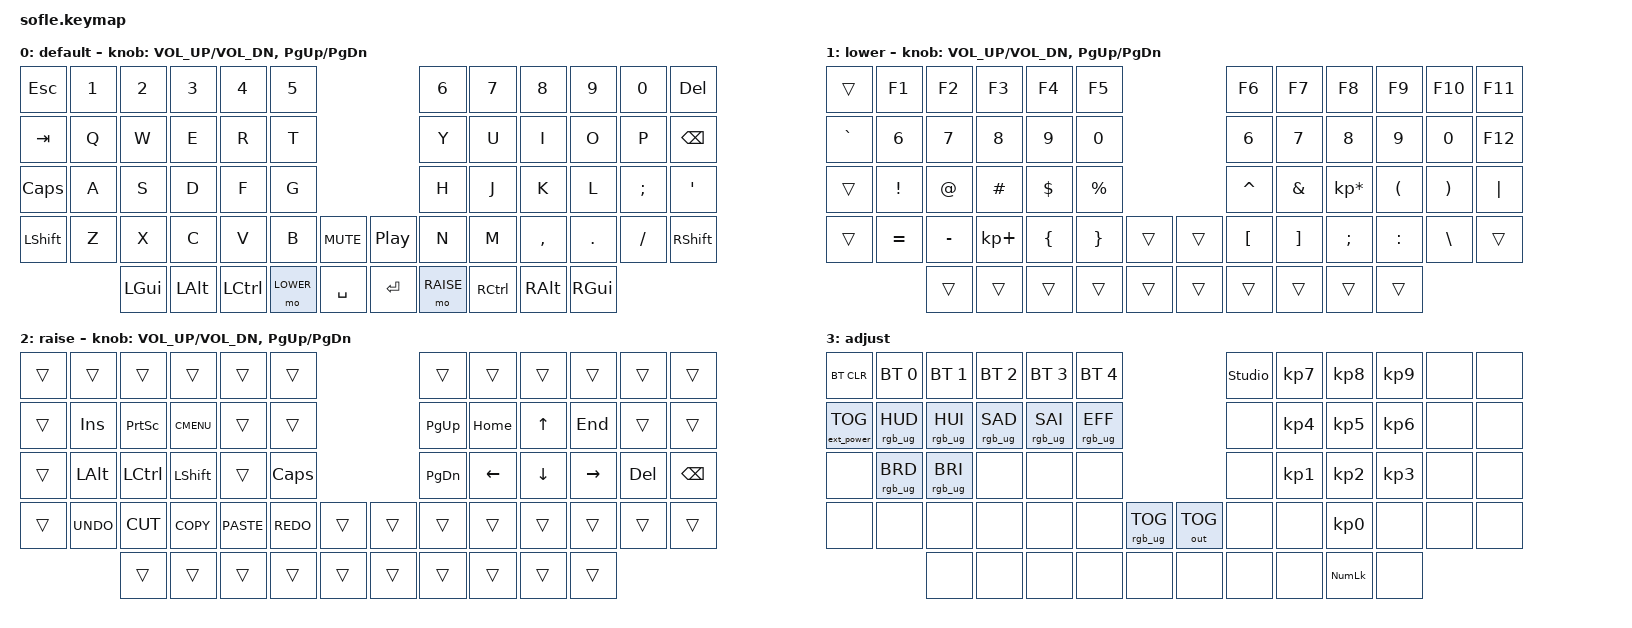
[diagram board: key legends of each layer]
/*
 * Copyright (c) 2020 The ZMK Contributors
 *
 * SPDX-License-Identifier: MIT
 */

#include <behaviors.dtsi>
#include <dt-bindings/zmk/keys.h>
#include <dt-bindings/zmk/bt.h>
#include <dt-bindings/zmk/rgb.h>
#include <dt-bindings/zmk/ext_power.h>
#include <dt-bindings/zmk/outputs.h>

#define BASE 0
#define LOWER 1
#define RAISE 2
#define ADJUST 3

/ {

    
   // Activate ADJUST layer by pressing raise and lower
    conditional_layers {
        compatible = "zmk,conditional-layers";
        adjust_layer {
            if-layers = <LOWER RAISE>;
            then-layer = <ADJUST>;
        };
    };

    keymap {
        compatible = "zmk,keymap";

        default_layer {
            display-name = "default";
// ------------------------------------------------------------------------------------------------------------
// |  ESC   |  1  |  2  |  3   |  4   |  5   |                        |  6     |  7    |  8    |  9   |   0   |  DEL  |
// |  TAB   |  Q  |  W  |  E   |  R   |  T   |                        |  Y     |  U    |  I    |  O   |   P   | BKSPC |
// |  CLCK  |  A  |  S  |  D   |  F   |  G   |                        |  H     |  J    |  K    |  L   |   ;   |   '   |
// |  SHIFT |  Z  |  X  |  C   |  V   |  B   |  MUTE  |  | PLAY_PAUSE |  N     |  M    |  ,    |  .   |   /   | SHIFT |
//                | GUI | ALT  | CTRL | LOWER|  SPACE |  | ENTER      |  RAISE |  CTRL |  ALT  |  GUI |
            bindings = <
&kp ESC   &kp N1 &kp N2   &kp N3   &kp N4    &kp N5                                    &kp N6     &kp N7     &kp N8     &kp N9   &kp N0    &kp DEL
&kp TAB   &kp Q  &kp W    &kp E    &kp R     &kp T                                     &kp Y      &kp U      &kp I      &kp O    &kp P     &kp BSPC
&kp CLCK  &kp A  &kp S    &kp D    &kp F     &kp G                                     &kp H      &kp J      &kp K      &kp L    &kp SEMI  &kp SQT
&kp LSHFT &kp Z  &kp X    &kp C    &kp V     &kp B      &kp C_MUTE   &kp C_PLAY_PAUSE  &kp N      &kp M      &kp COMMA  &kp DOT  &kp FSLH  &kp RSHFT
                 &kp LGUI &kp LALT &kp LCTRL &mo LOWER  &kp SPACE    &kp RET           &mo RAISE  &kp RCTRL  &kp RALT   &kp RGUI
            >;

            sensor-bindings = <&inc_dec_kp C_VOL_UP C_VOL_DN &inc_dec_kp PG_UP PG_DN>;
        };

        lower_layer {
            display-name = "lower";
// TODO: Some binds are waiting for shifted keycode support.
// ------------------------------------------------------------------------------------------------------------
// |       |  F1 |  F2 |  F3  |  F4  |  F5  |                   |  F6  |  F7   |  F8   |  F9  |  F10  |  F11  |
// |   `   |  6  |  7  |  8   |  9   |  0   |                   |  6   |  7    |  8    |  9   |   0   |  F12  |
// |       |  !  |  @  |  #   |  $   |  %   |                   |  ^   |  &    |  *    |  (   |   )   |   |   |
// |  CLCK |  =  |  -  |  +   |  {   |  }   |        |  |       |  [   |  ]    |  ;    |  :   |   \   | CLCK  |
//               |     |      |      |      |        |  |       |      |       |       |      |
            bindings = <
&trans    &kp F1    &kp F2    &kp F3      &kp F4    &kp F5                    &kp F6    &kp F7   &kp F8          &kp F9    &kp F10   &kp F11
&kp GRAVE &kp N6    &kp N7    &kp N8      &kp N9    &kp N0                    &kp N6    &kp N7   &kp N8          &kp N9    &kp N0    &kp F12
&trans    &kp EXCL  &kp AT    &kp HASH    &kp DLLR  &kp PRCNT                 &kp CARET &kp AMPS &kp KP_MULTIPLY &kp LPAR  &kp RPAR  &kp PIPE
&trans    &kp EQUAL &kp MINUS &kp KP_PLUS &kp LBRC  &kp RBRC   &trans &trans  &kp LBKT  &kp RBKT &kp SEMI        &kp COLON &kp BSLH  &trans
                    &trans    &trans      &trans    &trans     &trans &trans  &trans    &trans   &trans          &trans
            >;

            sensor-bindings = <&inc_dec_kp C_VOL_UP C_VOL_DN &inc_dec_kp PG_UP PG_DN>;
        };

        raise_layer {
            display-name = "raise";
// ------------------------------------------------------------------------------------------------------------
// |       | BT1  | BT2  |  BT3  |  BT4  |  BT5 |                |      |          |       |         |       |       |
// |       | INS  | PSCR | GUI   |       |      |                | PGUP |   HOME   |   ^   |   END   |       |       |
// |       | ALT  | CTRL | SHIFT |       | CAPS |                | PGDN |   <-     |   v   |  ->     |  DEL  | BKSPC |
// |  CLCK | UNDO | CUT  | COPY  | PASTE | REDO |      |  |      |      |          |       |         |       | CLCK  |
//                |      |       |       |      |      |  |      |      |          |       |         |
            bindings = <
&trans     &trans       &trans       &trans       &trans       &trans                      &trans     &trans    &trans    &trans     &trans   &trans
&trans     &kp INS      &kp PSCRN    &kp K_CMENU  &trans       &trans                      &kp PG_UP  &kp HOME  &kp UP    &kp END    &trans   &trans
&trans     &kp LALT     &kp LCTRL    &kp LSHFT    &trans       &kp CLCK                    &kp PG_DN  &kp LEFT  &kp DOWN  &kp RIGHT  &kp DEL  &kp BSPC
&trans     &kp K_UNDO   &kp K_CUT    &kp K_COPY   &kp K_PASTE  &kp K_REDO  &trans  &trans  &trans     &trans    &trans    &trans     &trans   &trans
                        &trans       &trans       &trans       &trans      &trans  &trans  &trans     &trans    &trans    &trans
            >;

            sensor-bindings = <&inc_dec_kp C_VOL_UP C_VOL_DN &inc_dec_kp PG_UP PG_DN>;
        };

        adjust_layer {
// --------------------------------------------------------------------------------------------------------------------------------------------------------------
// | BTCLR  |  BT1    |  BT2    |   BT3   |   BT4   |   BT5   |                   | studio unlock |   KP_NUMBER_7   |   KP_NUMBER_8    |   KP_NUMBER_9   |       |       |
// | EXTPWR | RGB_HUD | RGB_HUI | RGB_SAD | RGB_SAI | RGB_EFF |                   |               |   KP_NUMBER_4   |   KP_NUMBER_5    |   KP_NUMBER_6   |       |       |
// |        | RGB_BRD | RGB_BRI |         |         |         |                   |               |   KP_NUMBER_1   |   KP_NUMBER_2    |   KP_NUMBER_3   |       |       |
// |        |         |         |         |         |         | RGB_TOG |  |      |               |                 |   KP_NUMBER_0    |                 |       |       |
//                    |         |         |         |         |         |  |      |               |                 |   KP_NUMLOCK     |                 |
            display-name = "adjust";
            bindings = <
&bt BT_CLR        &bt BT_SEL 0    &bt BT_SEL 1    &bt BT_SEL 2    &bt BT_SEL 3    &bt BT_SEL 4                                     &studio_unlock  &kp KP_NUMBER_7 &kp KP_NUMBER_8  &kp KP_NUMBER_9  &none   &none
&ext_power EP_TOG &rgb_ug RGB_HUD &rgb_ug RGB_HUI &rgb_ug RGB_SAD &rgb_ug RGB_SAI &rgb_ug RGB_EFF                                  &none           &kp KP_NUMBER_4 &kp KP_NUMBER_5  &kp KP_NUMBER_6  &none   &none
&none             &rgb_ug RGB_BRD &rgb_ug RGB_BRI &none           &none           &none                                            &none           &kp KP_NUMBER_1 &kp KP_NUMBER_2  &kp KP_NUMBER_3  &none   &none
&none             &none           &none           &none           &none           &none            &rgb_ug RGB_TOG   &out OUT_TOG  &none           &none           &kp KP_NUMBER_0  &none            &none   &none
                                  &none           &none           &none           &none            &none             &none         &none           &none           &kp KP_NUMLOCK   &none
            >;
        };

    };
};
